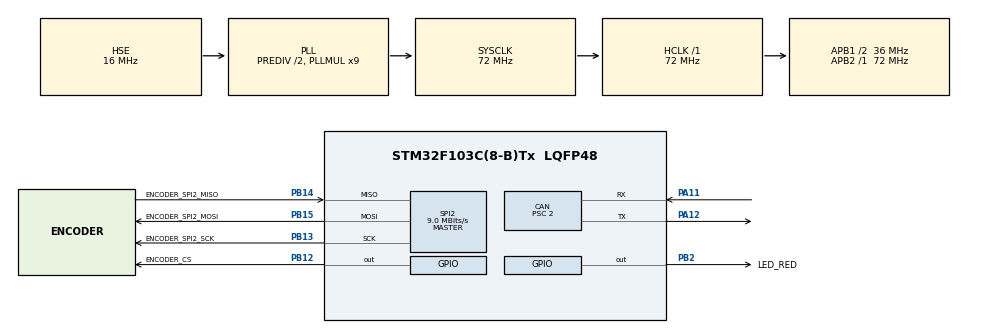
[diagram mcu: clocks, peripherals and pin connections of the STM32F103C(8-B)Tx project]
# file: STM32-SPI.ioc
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CAN.BS1=CAN_BS1_15TQ
CAN.BS2=CAN_BS2_2TQ
CAN.CalculateBaudRate=1000000
CAN.CalculateTimeBit=1000
CAN.CalculateTimeQuantum=55.55555555555556
CAN.NART=ENABLE
CAN.Prescaler=2
CAN.SJW=CAN_SJW_1TQ
Mcu.Family=STM32F1
Mcu.Name=STM32F103C(8-B)Tx
Mcu.Package=LQFP48
NVIC.PriorityGroup=NVIC_PRIORITYGROUP_4
NVIC.USB_LP_CAN1_RX0_IRQn=true\:0\:0\:false\:false\:true\:true\:true\:true
PA11.Mode=CAN_Activate
PA11.Signal=CAN_RX
PA12.Mode=CAN_Activate
PA12.Signal=CAN_TX
PA13.GPIO_Label=J7_SWDIO
PA13.Mode=Serial_Wire
PA13.Signal=SYS_JTMS-SWDIO
PA14.GPIO_Label=J7_SWCLK
PA14.Mode=Serial_Wire
PA14.Signal=SYS_JTCK-SWCLK
PB12.GPIO_Label=ENCODER_CS
PB12.GPIO_PuPd=GPIO_PULLUP
PB12.Signal=GPIO_Output
PB13.GPIO_Label=ENCODER_SPI2_SCK
PB13.Mode=Full_Duplex_Master
PB13.Signal=SPI2_SCK
PB14.GPIO_Label=ENCODER_SPI2_MISO
PB14.Mode=Full_Duplex_Master
PB14.Signal=SPI2_MISO
PB15.GPIO_Label=ENCODER_SPI2_MOSI
PB15.Mode=Full_Duplex_Master
PB15.Signal=SPI2_MOSI
PB2.GPIO_Label=LED_RED
PB2.Signal=GPIO_Output
PD0-OSC_IN.Mode=HSE-External-Oscillator
PD0-OSC_IN.Signal=RCC_OSC_IN
PD1-OSC_OUT.Mode=HSE-External-Oscillator
PD1-OSC_OUT.Signal=RCC_OSC_OUT
ProjectManager.HeapSize=0x200
ProjectManager.StackSize=0x400
ProjectManager.TargetToolchain=STM32CubeIDE
RCC.AHBFreq_Value=72000000
RCC.APB1CLKDivider=RCC_HCLK_DIV2
RCC.APB1Freq_Value=36000000
RCC.APB1TimFreq_Value=72000000
RCC.APB2Freq_Value=72000000
RCC.APB2TimFreq_Value=72000000
RCC.HCLKFreq_Value=72000000
RCC.HSEDivPLL=RCC_HSE_PREDIV_DIV2
RCC.HSE_VALUE=16000000
RCC.PLLMUL=RCC_PLL_MUL9
RCC.PLLSourceVirtual=RCC_PLLSOURCE_HSE
RCC.SYSCLKFreq_VALUE=72000000
RCC.SYSCLKSource=RCC_SYSCLKSOURCE_PLLCLK
RCC.USBFreq_Value=72000000
SPI2.BaudRatePrescaler=SPI_BAUDRATEPRESCALER_4
SPI2.CLKPhase=SPI_PHASE_2EDGE
SPI2.CalculateBaudRate=9.0 MBits/s
SPI2.Direction=SPI_DIRECTION_2LINES
SPI2.Mode=SPI_MODE_MASTER
SPI2.VirtualType=VM_MASTER
board=custom

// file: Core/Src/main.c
/* USER CODE BEGIN Header */
/**
 ******************************************************************************
 * @file           : main.c
 * @brief          : Main program body
 ******************************************************************************
 * @attention
 *
 * Copyright (c) 2024 STMicroelectronics.
 * All rights reserved.
 *
 * This software is licensed under terms that can be found in the LICENSE file
 * in the root directory of this software component.
 * If no LICENSE file comes with this software, it is provided AS-IS.
 *
 ******************************************************************************
 */
/* USER CODE END Header */
#include "main.h"

/* USER CODE BEGIN Includes */
#include <stdio.h>
#include <string.h>
/* USER CODE END Includes */

CAN_HandleTypeDef hcan;

SPI_HandleTypeDef hspi2;

/* USER CODE BEGIN PV */
// CAN Tx
CAN_TxHeaderTypeDef TxHeader;
uint8_t TxData[8];
uint32_t TxMailbox;

// CAN Rx
CAN_FilterTypeDef canfilterconfig;
CAN_RxHeaderTypeDef RxHeader;
uint8_t RxData[8];

/* USER CODE END PV */

void SystemClock_Config(void);
static void MX_GPIO_Init(void);
static void MX_CAN_Init(void);
static void MX_SPI2_Init(void);

/* USER CODE BEGIN 0 */

void setupTxCAN()
{
    TxHeader.StdId = 0x321;
    TxHeader.ExtId = 0x01;
    TxHeader.RTR = CAN_RTR_DATA;
    TxHeader.IDE = CAN_ID_EXT;
    TxHeader.DLC = 8;
    TxHeader.TransmitGlobalTime = DISABLE;

    TxData[0] = 0xA0;
    TxData[1] = 0xA1;
    TxData[2] = 0xA2;
    TxData[3] = 0xA3;
    TxData[4] = 0xA4;
    TxData[5] = 0xA5;
    TxData[6] = 0xA6;
    TxData[7] = 0xA7;
}

void setupRxCAN()
{
    canfilterconfig.FilterBank = 0;
    canfilterconfig.FilterMode = CAN_FILTERMODE_IDMASK;
    canfilterconfig.FilterScale = CAN_FILTERSCALE_32BIT;
    canfilterconfig.FilterIdHigh = 0x0000;
    canfilterconfig.FilterIdLow = 0x0000;
    canfilterconfig.FilterMaskIdHigh = 0x0000;
    canfilterconfig.FilterMaskIdLow = 0x0000;
    canfilterconfig.FilterFIFOAssignment = CAN_RX_FIFO0;
    canfilterconfig.FilterActivation = ENABLE;
    canfilterconfig.SlaveStartFilterBank = 14;

    HAL_CAN_ConfigFilter(&hcan, &canfilterconfig);
    HAL_CAN_ActivateNotification(&hcan, CAN_IT_RX_FIFO0_MSG_PENDING); //enable interrupts
}

void txCAN()
{
    HAL_StatusTypeDef can_result = HAL_CAN_AddTxMessage(&hcan, &TxHeader,
            TxData, &TxMailbox);
    if (can_result != HAL_OK)
    {
        Error_Handler();
    }
}

/**
 * @brief  Rx Fifo 0 message pending callback in non blocking mode
 * @param  CanHandle: pointer to a CAN_HandleTypeDef structure that contains
 *         the configuration information for the specified CAN.
 * @retval None
 */
void HAL_CAN_RxFifo0MsgPendingCallback(CAN_HandleTypeDef *CanHandle)
{
    /* Get RX message */
    if (HAL_CAN_GetRxMessage(CanHandle, CAN_RX_FIFO0, &RxHeader, RxData)
            != HAL_OK)
    {
        /* Reception Error */
        Error_Handler();
    }

    HAL_GPIO_TogglePin(GPIOB, GPIO_PIN_2);
    // Echo received CAN message
    HAL_CAN_AddTxMessage(&hcan, &TxHeader, RxData, &TxMailbox);
}

/* USER CODE END 0 */

int main(void)
{

    /* MCU Configuration--------------------------------------------------------*/

    /* Reset of all peripherals, Initializes the Flash interface and the Systick. */
    HAL_Init();

    /* Configure the system clock */
    SystemClock_Config();

    /* Initialize all configured peripherals */
    MX_GPIO_Init();
    MX_CAN_Init();
    MX_SPI2_Init();
    /* USER CODE BEGIN 2 */
    setupTxCAN();
    setupRxCAN();

    //Setup SPI read buffers

    uint8_t SPI_read[2] =
    { 0, 0 };

    /* USER CODE END 2 */

    /* Infinite loop */
    /* USER CODE BEGIN WHILE */
    while (1)
    {

        // ENCODER WRITE MESSAGE
        // WRITE 0xFF 0xFF for Angle read
        // WRITE 0x7F 0xFD for magnetic field diagnostics

        uint8_t SPI_msg[2] =
        { 0xFF, 0xFF }; //two bytes, 16 bits

        //ENCODER WRITE AND READ
        HAL_GPIO_WritePin(GPIOB, GPIO_PIN_12, GPIO_PIN_RESET);

        HAL_StatusTypeDef transmitStatus_encoder = HAL_SPI_TransmitReceive(
                &hspi2, SPI_msg, SPI_read, 2, 1000);

        HAL_GPIO_WritePin(GPIOB, GPIO_PIN_12, GPIO_PIN_SET);

        //DEBUG OUT OVER CAN. MODIFY AS DESIRED. CURRENTLY CONFIGURED TO ENCODER
        TxData[0] = transmitStatus_encoder;
        TxData[1] = 0xFF;
        TxData[2] = SPI_msg[1];
        TxData[3] = SPI_msg[0];
        TxData[4] = 0x00;
        TxData[5] = 0x00;
        TxData[6] = SPI_read[1] & 0x3F; //read 6 most msbs of 14 bit angle response
        TxData[7] = SPI_read[0];

        txCAN();

        // MODIFY WRITE FREQUENCY AS DESIRED
        HAL_Delay(50);
        /* USER CODE END WHILE */

    }
}

void SystemClock_Config(void)
{
    RCC_OscInitTypeDef RCC_OscInitStruct =
    { 0 };
    RCC_ClkInitTypeDef RCC_ClkInitStruct =
    { 0 };

    /** Initializes the RCC Oscillators according to the specified parameters
     * in the RCC_OscInitTypeDef structure.
     */
    RCC_OscInitStruct.OscillatorType = RCC_OSCILLATORTYPE_HSE;
    RCC_OscInitStruct.HSEState = RCC_HSE_ON;
    RCC_OscInitStruct.HSEPredivValue = RCC_HSE_PREDIV_DIV2;
    RCC_OscInitStruct.HSIState = RCC_HSI_ON;
    RCC_OscInitStruct.PLL.PLLState = RCC_PLL_ON;
    RCC_OscInitStruct.PLL.PLLSource = RCC_PLLSOURCE_HSE;
    RCC_OscInitStruct.PLL.PLLMUL = RCC_PLL_MUL9;
    if (HAL_RCC_OscConfig(&RCC_OscInitStruct) != HAL_OK)
    {
        Error_Handler();
    }

    /** Initializes the CPU, AHB and APB buses clocks
     */
    RCC_ClkInitStruct.ClockType = RCC_CLOCKTYPE_HCLK | RCC_CLOCKTYPE_SYSCLK
            | RCC_CLOCKTYPE_PCLK1 | RCC_CLOCKTYPE_PCLK2;
    RCC_ClkInitStruct.SYSCLKSource = RCC_SYSCLKSOURCE_PLLCLK;
    RCC_ClkInitStruct.AHBCLKDivider = RCC_SYSCLK_DIV1;
    RCC_ClkInitStruct.APB1CLKDivider = RCC_HCLK_DIV2;
    RCC_ClkInitStruct.APB2CLKDivider = RCC_HCLK_DIV1;

    if (HAL_RCC_ClockConfig(&RCC_ClkInitStruct, FLASH_LATENCY_2) != HAL_OK)
    {
        Error_Handler();
    }
}

static void MX_CAN_Init(void)
{

    hcan.Instance = CAN1;
    hcan.Init.Prescaler = 2;
    hcan.Init.Mode = CAN_MODE_NORMAL;
    hcan.Init.SyncJumpWidth = CAN_SJW_1TQ;
    hcan.Init.TimeSeg1 = CAN_BS1_15TQ;
    hcan.Init.TimeSeg2 = CAN_BS2_2TQ;
    hcan.Init.TimeTriggeredMode = DISABLE;
    hcan.Init.AutoBusOff = DISABLE;
    hcan.Init.AutoWakeUp = DISABLE;
    hcan.Init.AutoRetransmission = ENABLE;
    hcan.Init.ReceiveFifoLocked = DISABLE;
    hcan.Init.TransmitFifoPriority = DISABLE;
    if (HAL_CAN_Init(&hcan) != HAL_OK)
    {
        Error_Handler();
    }
    /* USER CODE BEGIN CAN_Init 2 */

    if (HAL_CAN_Start(&hcan) != HAL_OK)
    {
        /* Start Error */
        Error_Handler();
    }

    /* USER CODE END CAN_Init 2 */

}

static void MX_SPI2_Init(void)
{

    /* SPI2 parameter configuration*/
    hspi2.Instance = SPI2;
    hspi2.Init.Mode = SPI_MODE_MASTER;
    hspi2.Init.Direction = SPI_DIRECTION_2LINES;
    hspi2.Init.DataSize = SPI_DATASIZE_8BIT;
    hspi2.Init.CLKPolarity = SPI_POLARITY_LOW;
    hspi2.Init.CLKPhase = SPI_PHASE_2EDGE;
    hspi2.Init.NSS = SPI_NSS_SOFT;
    hspi2.Init.BaudRatePrescaler = SPI_BAUDRATEPRESCALER_4;
    hspi2.Init.FirstBit = SPI_FIRSTBIT_MSB;
    hspi2.Init.TIMode = SPI_TIMODE_DISABLE;
    hspi2.Init.CRCCalculation = SPI_CRCCALCULATION_DISABLE;
    hspi2.Init.CRCPolynomial = 10;
    if (HAL_SPI_Init(&hspi2) != HAL_OK)
    {
        Error_Handler();
    }

}

static void MX_GPIO_Init(void)
{
    GPIO_InitTypeDef GPIO_InitStruct =
    { 0 };
    /* USER CODE BEGIN MX_GPIO_Init_1 */

    __HAL_RCC_AFIO_CLK_ENABLE();
    __HAL_AFIO_REMAP_SWJ_NOJTAG();

    /* USER CODE END MX_GPIO_Init_1 */

    /* GPIO Ports Clock Enable */
    __HAL_RCC_GPIOD_CLK_ENABLE();
    __HAL_RCC_GPIOB_CLK_ENABLE();
    __HAL_RCC_GPIOA_CLK_ENABLE();

    /*Configure GPIO pin Output Level */
    HAL_GPIO_WritePin(GPIOB, LED_RED_Pin | ENCODER_CS_Pin, GPIO_PIN_RESET);

    /*Configure GPIO pin : LED_RED_Pin */
    GPIO_InitStruct.Pin = LED_RED_Pin;
    GPIO_InitStruct.Mode = GPIO_MODE_OUTPUT_PP;
    GPIO_InitStruct.Pull = GPIO_NOPULL;
    GPIO_InitStruct.Speed = GPIO_SPEED_FREQ_LOW;
    HAL_GPIO_Init(LED_RED_GPIO_Port, &GPIO_InitStruct);

    /*Configure GPIO pin : ENCODER_CS_Pin */
    GPIO_InitStruct.Pin = ENCODER_CS_Pin;
    GPIO_InitStruct.Mode = GPIO_MODE_OUTPUT_PP;
    GPIO_InitStruct.Pull = GPIO_PULLUP;
    GPIO_InitStruct.Speed = GPIO_SPEED_FREQ_LOW;
    HAL_GPIO_Init(ENCODER_CS_GPIO_Port, &GPIO_InitStruct);

}

void Error_Handler(void)
{
    __disable_irq();
    while (1)
    {
    }
}
